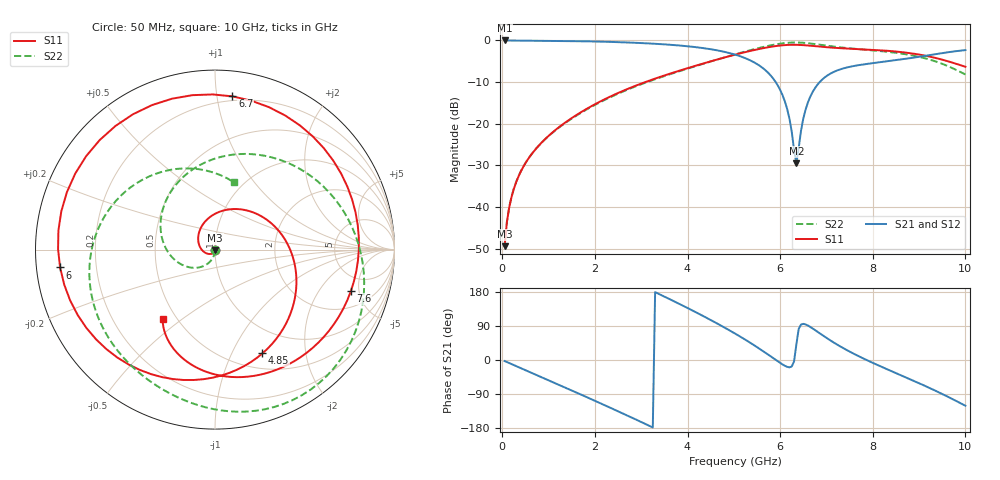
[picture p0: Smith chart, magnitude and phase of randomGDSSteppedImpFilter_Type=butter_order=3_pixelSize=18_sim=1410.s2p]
! freq	dB(S11)	phase(S11)	dB(S12)	phase(S12)
!  dB(S21)	phase(S21)	dB(S22)	phase(S22)
!S-par simulation data
#  GHz  S  DB  R 50
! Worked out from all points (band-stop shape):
!   200 points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, 50 MHz to 10 GHz, reference 50 ohm
!   highest |S21| = -0.01 dB at 50 MHz (marker M1); lowest = -29.5 dB at 6.35 GHz (marker M2)
!   |S21| within 3 dB of the highest: start of sweep to 4.897 GHz; 9.523 GHz to end of sweep
!   lowest |S11| = -49.4 dB at 50 MHz (marker M3), VSWR 1.01, Z = 50 - j0.339 ohm
!   |S11| at or under -10 dB: start of sweep to 3.086 GHz
!   |S22| runs from -49.4 to -0.5 dB; largest |S21 - S12| = 0
!   S11 on the Smith chart (normalised r, x): 50 MHz: 1.00, -0.01; 4.85 GHz: 0.68, -1.32; 6 GHz: 0.07, -0.06; 6.7 GHz: 0.17, +1.11; 7.6 GHz: 3.34, -4.12; 10 GHz: 0.42, -0.42
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0.05  -49.39 -88.3  -0.01 -2.7  -0.01 -2.7  -49.36 -84.6
0.2  -37.57 -106.4  -0.02 -10.7  -0.02 -10.7  -37.47 -92.6
0.45  -30.42 -129.7  -0.04 -24.1  -0.04 -24.1  -30.35 -98.9
1.15  -21.48 170.6  -0.10 -61.5  -0.10 -61.5  -21.56 -116.0
1.75  -16.89 124.0  -0.20 -94.0  -0.20 -94.0  -17.03 -134.3
2.65  -11.90 62.8  -0.47 -143.8  -0.47 -143.8  -12.06 -172.3
3.4  -8.78 18.6  -0.87 173.2  -0.87 173.2  -8.93 146.0
4.2  -5.99 -25.7  -1.64 124.8  -1.64 124.8  -6.08 93.6
4.85  -3.93 -65.4  -2.88 82.1  -2.88 82.1  -3.90 47.8
5.05  -3.35 -79.6  -3.48 68.0  -3.48 68.0  -3.26 33.7
5.55  -2.04 -122.0  -6.02 30.0  -6.02 30.0  -1.79 -1.7
6  -1.22 -173.4  -11.87 -7.7  -11.87 -7.7  -0.77 -34.0
6.2  -1.06 158.8  -18.74 -19.3  -18.74 -19.3  -0.54 -48.5
6.35  -1.05 136.4  -29.54 40.9  -29.54 40.9  -0.49 -59.1
6.5  -1.13 113.5  -18.75 95.4  -18.75 95.4  -0.57 -69.4
6.7  -1.32 83.5  -12.40 83.4  -12.40 83.4  -0.80 -82.0
7.1  -1.72 31.1  -7.87 50.5  -7.87 50.5  -1.41 -103.5
7.6  -2.03 -16.9  -6.12 15.8  -6.12 15.8  -1.99 -126.8
8.35  -2.51 -65.2  -4.97 -26.6  -4.97 -26.6  -2.76 -162.5
8.85  -3.13 -89.3  -4.19 -53.1  -4.19 -53.1  -3.60 169.9
9.35  -4.19 -109.4  -3.31 -80.9  -3.31 -80.9  -5.02 136.1
10  -6.32 -127.1  -2.32 -120.7  -2.32 -120.7  -8.17 74.6
